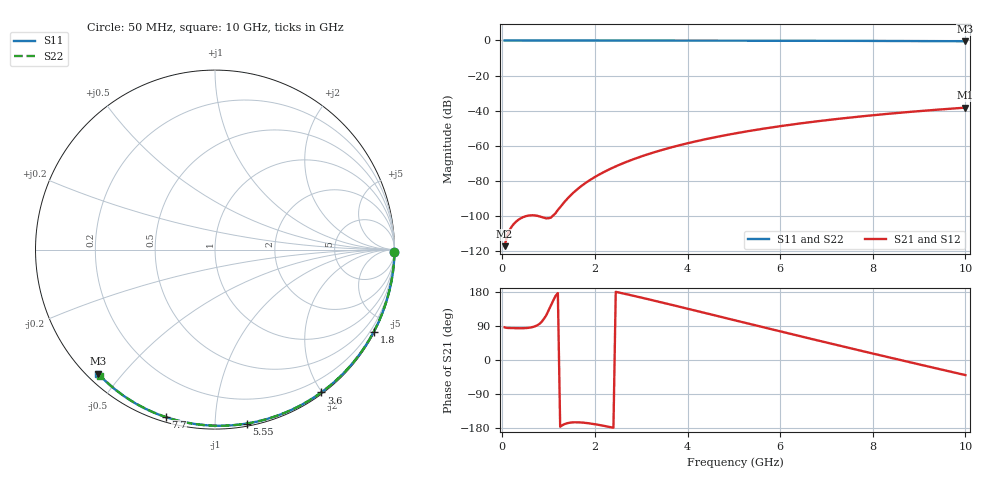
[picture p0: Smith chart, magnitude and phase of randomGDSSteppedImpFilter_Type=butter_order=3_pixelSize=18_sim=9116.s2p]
! freq	dB(S11)	phase(S11)	dB(S12)	phase(S12)
!  dB(S21)	phase(S21)	dB(S22)	phase(S22)
!S-par simulation data
#  GHz  S  DB  R 50
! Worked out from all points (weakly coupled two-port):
!   200 points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, 50 MHz to 10 GHz, reference 50 ohm
!   highest |S21| = -38.32 dB at 10 GHz (marker M1); lowest = -117.3 dB at 50 MHz (marker M2)
!   lowest |S11| = -0.4 dB at 10 GHz (marker M3), VSWR 38.79, Z = 1.53 - j21.6 ohm
!   |S11| at or under -10 dB: nowhere
!   |S22| runs from -0.4 to 0.0 dB; largest |S21 - S12| = 0
!   S11 on the Smith chart (normalised r, x): 50 MHz: open; 1.8 GHz: 0.04, -4.12; 3.6 GHz: 0.02, -1.99; 5.55 GHz: 0.02, -1.20; 7.7 GHz: 0.02, -0.75; 10 GHz: 0.03, -0.43
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0.05  -0.00 -0.8  -117.34 86.2  -117.34 86.2  -0.00 -0.8
0.9  -0.02 -13.8  -101.18 108.8  -101.18 108.8  -0.02 -13.7
1.75  -0.03 -26.5  -82.20 -165.4  -82.20 -165.4  -0.03 -26.4
1.8  -0.03 -27.3  -81.26 -166.0  -81.26 -166.0  -0.03 -27.1
1.85  -0.04 -28.0  -80.36 -166.8  -80.36 -166.8  -0.04 -27.9
1.9  -0.04 -28.8  -79.50 -167.6  -79.50 -167.6  -0.04 -28.6
2.05  -0.04 -31.0  -77.11 -170.5  -77.11 -170.5  -0.04 -30.8
2.25  -0.04 -33.9  -74.30 -175.1  -74.30 -175.1  -0.04 -33.7
2.45  -0.05 -36.9  -71.82 179.9  -71.82 179.9  -0.05 -36.7
2.65  -0.05 -39.8  -69.59 174.5  -69.59 174.5  -0.05 -39.6
3  -0.06 -44.8  -66.18 164.7  -66.18 164.7  -0.06 -44.6
3.4  -0.07 -50.5  -62.84 153.2  -62.84 153.2  -0.07 -50.2
3.6  -0.07 -53.3  -61.35 147.3  -61.35 147.3  -0.07 -53.0
4.3  -0.09 -63.0  -56.84 126.4  -56.84 126.4  -0.09 -62.7
5.05  -0.11 -73.1  -52.92 104.0  -52.92 104.0  -0.11 -72.7
5.55  -0.13 -79.7  -50.69 89.0  -50.69 89.0  -0.13 -79.2
6.1  -0.15 -86.7  -48.52 72.6  -48.52 72.6  -0.15 -86.2
6.7  -0.18 -94.2  -46.43 54.9  -46.43 54.9  -0.18 -93.7
7.7  -0.24 -106.4  -43.45 25.7  -43.45 25.7  -0.24 -105.8
8.35  -0.29 -114.1  -41.79 7.0  -41.79 7.0  -0.29 -113.4
9.15  -0.36 -123.4  -39.99 -15.8  -39.99 -15.8  -0.36 -122.6
10  -0.45 -133.2  -38.32 -39.8  -38.32 -39.8  -0.45 -132.3
